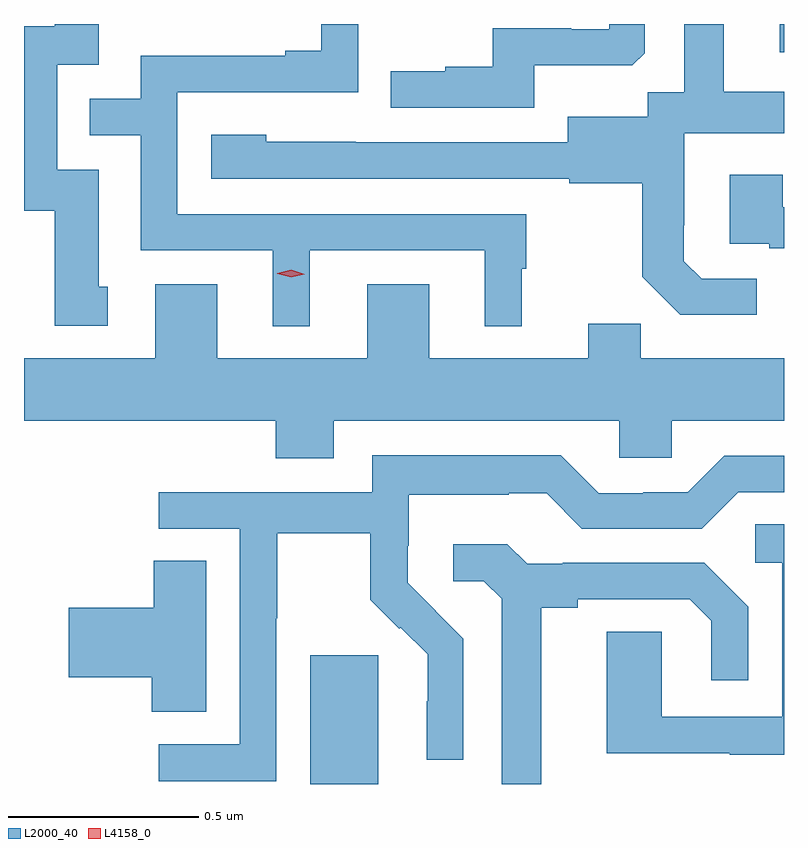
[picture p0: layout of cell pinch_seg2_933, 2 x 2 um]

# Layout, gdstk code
import gdstk
lib = gdstk.Library(unit=1e-6, precision=1e-09)
def R(c, l, rs):  # rectangles x0, y0, x1, y1
    for r in rs: c.add(gdstk.rectangle(r[:2], r[2:], *l))
def P(c, l, *ps):  # polygons
    for p in ps: c.add(gdstk.Polygon(p, *l))
L2000_40 = (2000, 40)
L4158_0 = (4158, 0)

pinch_seg2_933 = lib.new_cell('pinch_seg2_933')
R(pinch_seg2_933, L2000_40, [(393.761,644.016,393.94,644.355), (394.997,645.942,395.008,646.016)])
P(pinch_seg2_933, L2000_40, [(393.76,645.42),(394.22,645.42),(394.22,645.221),(394.318,645.221),(394.318,645.372),(394.33,645.372),(394.33,645.516),(393.411,645.516),(393.411,645.837),(393.888,645.837),(393.888,646.016),(393.79,646.016),(393.79,645.946),(393.695,645.946),(393.695,645.933),(393.315,645.933),(393.315,645.819),(393.181,645.819),(393.181,645.723),(393.315,645.723),(393.315,645.42),(393.662,645.42),(393.662,645.221),(393.76,645.221)],
  [(393.229,645.324),(393.205,645.324),(393.205,645.633),(393.096,645.633),(393.096,645.909),(393.205,645.909),(393.205,646.016),(393.089,646.016),(393.089,646.01),(393.008,646.01),(393.008,645.525),(393.089,645.525),(393.089,645.222),(393.229,645.222)],
  [(394.936,645.345),(394.791,645.345),(394.744,645.392),(394.744,645.487),(394.746,645.487),(394.746,645.728),(395.008,645.728),(395.008,645.838),(394.849,645.838),(394.849,646.016),(394.745,646.016),(394.745,645.836),(394.65,645.836),(394.65,645.772),(394.439,645.772),(394.439,645.705),(393.881,645.705),(393.881,645.706),(393.645,645.706),(393.645,645.724),(393.501,645.724),(393.501,645.609),(394.443,645.609),(394.443,645.597),(394.635,645.597),(394.635,645.351),(394.735,645.251),(394.936,645.251)],
  [(394.351,645.908),(394.609,645.908),(394.641,645.939),(394.641,646.016),(394.548,646.016),(394.548,646.002),(394.448,646.002),(394.448,646.005),(394.241,646.005),(394.241,645.904),(394.117,645.904),(394.117,645.892),(393.973,645.892),(393.973,645.795),(394.351,645.795)],
  [(395.008,645.534),(395.005,645.534),(395.005,645.619),(394.865,645.619),(394.865,645.438),(394.969,645.438),(394.969,645.426),(395.008,645.426)],
  [(393.823,644.972),(394.575,644.972),(394.575,644.874),(394.713,644.874),(394.713,644.972),(395.008,644.972),(395.008,645.136),(394.631,645.136),(394.631,645.227),(394.493,645.227),(394.493,645.136),(394.075,645.136),(394.075,645.331),(393.911,645.331),(393.911,645.136),(393.517,645.136),(393.517,645.331),(393.353,645.331),(393.353,645.136),(393.008,645.136),(393.008,644.972),(393.671,644.972),(393.671,644.873),(393.823,644.873)],
  [(393.672,644.452),(393.675,644.452),(393.675,644.676),(393.919,644.676),(393.919,644.501),(393.996,644.424),(393.999,644.427),(394.07,644.357),(394.07,644.234),(394.068,644.234),(394.068,644.08),(394.164,644.08),(394.164,644.398),(394.091,644.471),(394.092,644.472),(394.018,644.546),(394.018,644.643),(394.02,644.643),(394.02,644.777),(394.283,644.777),(394.283,644.781),(394.383,644.781),(394.476,644.688),(394.791,644.688),(394.887,644.784),(395.008,644.784),(395.008,644.88),(394.851,644.88),(394.755,644.784),(394.637,644.784),(394.637,644.781),(394.521,644.781),(394.421,644.881),(393.924,644.881),(393.924,644.784),(393.363,644.784),(393.363,644.688),(393.576,644.688),(393.576,644.121),(393.363,644.121),(393.363,644.023),(393.672,644.023)],
  [(395.008,644.699),(394.932,644.699),(394.932,644.598),(395.004,644.598),(395.004,644.193),(394.686,644.193),(394.686,644.417),(394.541,644.417),(394.541,644.097),(394.865,644.097),(394.865,644.093),(395.008,644.093)],
  [(394.369,644.48),(394.465,644.48),(394.465,644.502),(394.76,644.502),(394.817,644.445),(394.817,644.289),(394.914,644.289),(394.914,644.482),(394.798,644.598),(394.426,644.598),(394.426,644.595),(394.332,644.595),(394.28,644.647),(394.137,644.647),(394.137,644.55),(394.218,644.55),(394.265,644.503),(394.265,644.016),(394.369,644.016)],
  [(393.487,644.603),(393.349,644.603),(393.349,644.48),(393.126,644.48),(393.126,644.297),(393.344,644.297),(393.344,644.206),(393.487,644.206)])
P(pinch_seg2_933, L4158_0, [(393.711,645.349),(393.675,645.359),(393.675,645.359),(393.675,645.36),(393.711,645.369),(393.747,645.358),(393.747,645.358),(393.747,645.358)])

lib.write_gds('pinch_seg2_933.gds')
